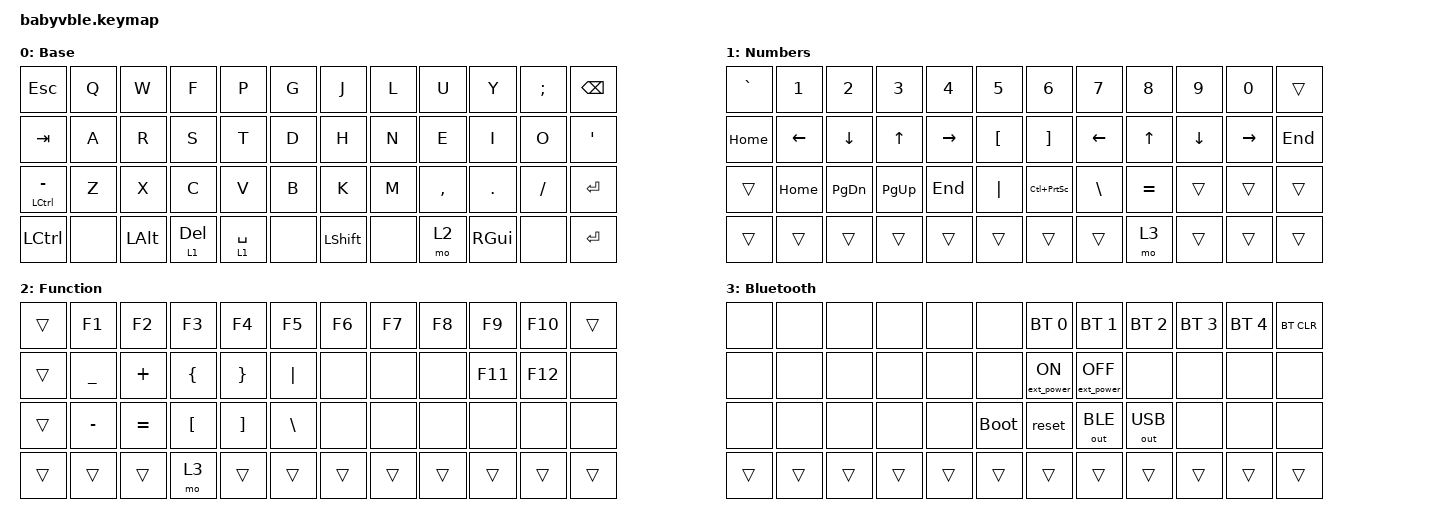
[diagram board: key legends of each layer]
/*
 * Copyright (c) 2021 The ZMK Contributors
 *
 * SPDX-License-Identifier: MIT
 */


#include <behaviors.dtsi>
#include <dt-bindings/zmk/keys.h>
#include <dt-bindings/zmk/bt.h>
#include <dt-bindings/zmk/outputs.h>
#include <dt-bindings/zmk/ext_power.h>



/ {
    keymap {
        compatible = "zmk,keymap";

        default_layer {
            label = "Base";
            bindings = <
        &kp ESC    &kp Q    &kp W    &kp F     &kp P     &kp G     &kp J     &kp L     &kp U     &kp Y    &kp SEMI   &kp BSPC
        &kp TAB   &kp A    &kp R    &kp S     &kp T     &kp D     &kp H     &kp N     &kp E     &kp I    &kp O  &kp APOS
        &mt LCTRL MINUS &kp Z    &kp X    &kp C     &kp V     &kp B     &kp K     &kp M     &kp COMMA &kp DOT  &kp FSLH  &kp ENTER
        &kp LCTRL  &none &kp LALT &lt 1 DEL &lt 1 SPACE &none &kp LSHFT &none &mo 2  &kp RGUI &none &kp ENTER
            >;
        };

        numbers_layer {
            label = "Numbers";
            bindings = <
         &kp GRAVE &kp N1   &kp N2   &kp N3    &kp N4    &kp N5    &kp N6    &kp N7    &kp N8       &kp N9     &kp N0    &trans
        &kp HOME &kp LEFT &kp DOWN &kp UP &kp RIGHT &kp LEFT_BRACKET &kp RIGHT_BRACKET &kp LEFT &kp UP &kp DOWN &kp RIGHT &kp END
        &trans &kp HOME   &kp PG_DN   &kp PG_UP &kp END &kp PIPE        &kp LC(PRINTSCREEN)  &kp BSLH  &kp EQUAL &trans &trans &trans
        &trans  &trans &trans &trans    &trans    &trans   &trans  &trans &mo 3 &trans    &trans    &trans 
            >;
        };

        func_layer {
            label = "Function"; 
            bindings = <
        &trans  &kp F1     &kp F2   &kp F3   &kp F4    &kp F5    &kp F6    &kp F7    &kp F8    &kp F9       &kp F10    &trans
       &trans &kp UNDER &kp PLUS &kp LBRC  &kp RBRC  &kp PIPE      &none    &none    &none    &kp F11    &kp F12    &none
   &trans &kp MINUS   &kp EQUAL  &kp LBKT  &kp RBKT  &kp BSLH       &none    &none    &none    &none    &none    &none 
 &trans  &trans &trans &mo 3    &trans    &trans   &trans  &trans &trans &trans    &trans    &trans 
            >;
        };

        mouse_layer {
            label = "Bluetooth";
            bindings = <
           &none           &none           &none           &none           &none &none  &bt BT_SEL 0 &bt BT_SEL 1 &bt BT_SEL 2 &bt BT_SEL 3 &bt BT_SEL 4 &bt BT_CLR
      &none           &none           &none           &none           &none &none            &ext_power EP_ON        &ext_power EP_OFF        &none        &none        &none        &none
   &none           &none           &none           &none           &none &bootloader        &reset       &out OUT_BLE  &out OUT_USB      &none        &none        &none
&trans  &trans &trans &trans    &trans    &trans   &trans  &trans &trans &trans    &trans    &trans 
            >;
        };
    };
};

